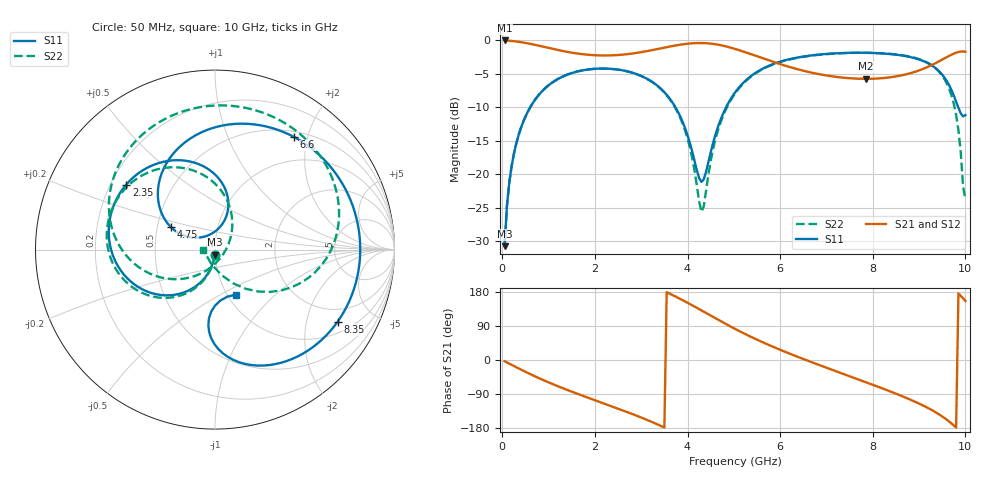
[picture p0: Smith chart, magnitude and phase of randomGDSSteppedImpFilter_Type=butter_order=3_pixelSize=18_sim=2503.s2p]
! freq	dB(S11)	phase(S11)	dB(S12)	phase(S12)
!  dB(S21)	phase(S21)	dB(S22)	phase(S22)
!S-par simulation data
#  GHz  S  DB  R 50
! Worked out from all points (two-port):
!   200 points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, 50 MHz to 10 GHz, reference 50 ohm
!   highest |S21| = -0.01 dB at 50 MHz (marker M1); lowest = -5.7 dB at 7.85 GHz (marker M2)
!   |S21| within 3 dB of the highest: start of sweep to 5.766 GHz; 9.462 GHz to end of sweep
!   lowest |S11| = -30.7 dB at 50 MHz (marker M3), VSWR 1.06, Z = 49.7 - j2.89 ohm
!   |S11| at or under -10 dB: start of sweep to 601.4 MHz; 3.74 GHz to 4.832 GHz (1.092 GHz wide, 25.5 % of centre); 9.846 GHz to end of sweep
!   |S22| runs from -30.7 to -1.8 dB; largest |S21 - S12| = 0
!   S11 on the Smith chart (normalised r, x): 50 MHz: 0.99, -0.06; 2.35 GHz: 0.26, +0.31; 4.75 GHz: 0.59, +0.16; 6.6 GHz: 0.59, +1.78; 8.35 GHz: 1.42, -3.07; 10 GHz: 1.10, -0.60
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0.05  -30.72 -93.5  -0.01 -3.2  -0.01 -3.2  -30.72 -93.3
0.1  -24.73 -96.9  -0.03 -6.4  -0.03 -6.4  -24.73 -96.5
0.2  -18.82 -103.6  -0.08 -12.8  -0.08 -12.8  -18.82 -102.8
0.5  -11.37 -122.6  -0.37 -31.1  -0.37 -31.1  -11.37 -120.7
1.05  -6.43 -154.2  -1.20 -61.6  -1.20 -61.6  -6.43 -150.1
1.75  -4.45 171.2  -2.07 -95.0  -2.07 -95.0  -4.45 178.0
2.35  -4.25 143.8  -2.24 -121.5  -2.24 -121.5  -4.25 152.7
3.4  -7.06 93.7  -1.22 -172.6  -1.22 -172.6  -7.10 102.5
3.95  -13.16 71.5  -0.53 154.3  -0.53 154.3  -13.51 63.8
4.3  -21.13 111.7  -0.39 130.8  -0.39 130.8  -25.61 -28.2
4.75  -11.23 153.1  -0.76 100.1  -0.76 100.1  -11.57 -141.3
5.05  -7.55 139.0  -1.32 80.6  -1.32 80.6  -7.70 -163.5
5.85  -3.53 94.3  -3.20 34.7  -3.20 34.7  -3.58 152.4
6.6  -2.31 54.8  -4.69 -2.1  -4.69 -2.1  -2.35 119.7
6.7  -2.22 49.7  -4.84 -6.7  -4.84 -6.7  -2.26 115.7
7.3  -1.90 20.0  -5.52 -33.9  -5.52 -33.9  -1.92 91.9
7.85  -1.85 -6.6  -5.74 -58.5  -5.74 -58.5  -1.85 70.1
8.35  -2.02 -30.5  -5.53 -81.6  -5.53 -81.6  -1.99 49.3
9.1  -3.11 -67.5  -4.21 -120.9  -4.21 -120.9  -3.05 12.0
9.6  -6.10 -92.4  -2.49 -157.7  -2.49 -157.7  -6.44 -26.1
9.8  -9.14 -93.7  -1.83 -178.4  -1.83 -178.4  -11.13 -51.9
10  -11.15 -64.9  -1.70 156.1  -1.70 156.1  -23.71 -179.9
